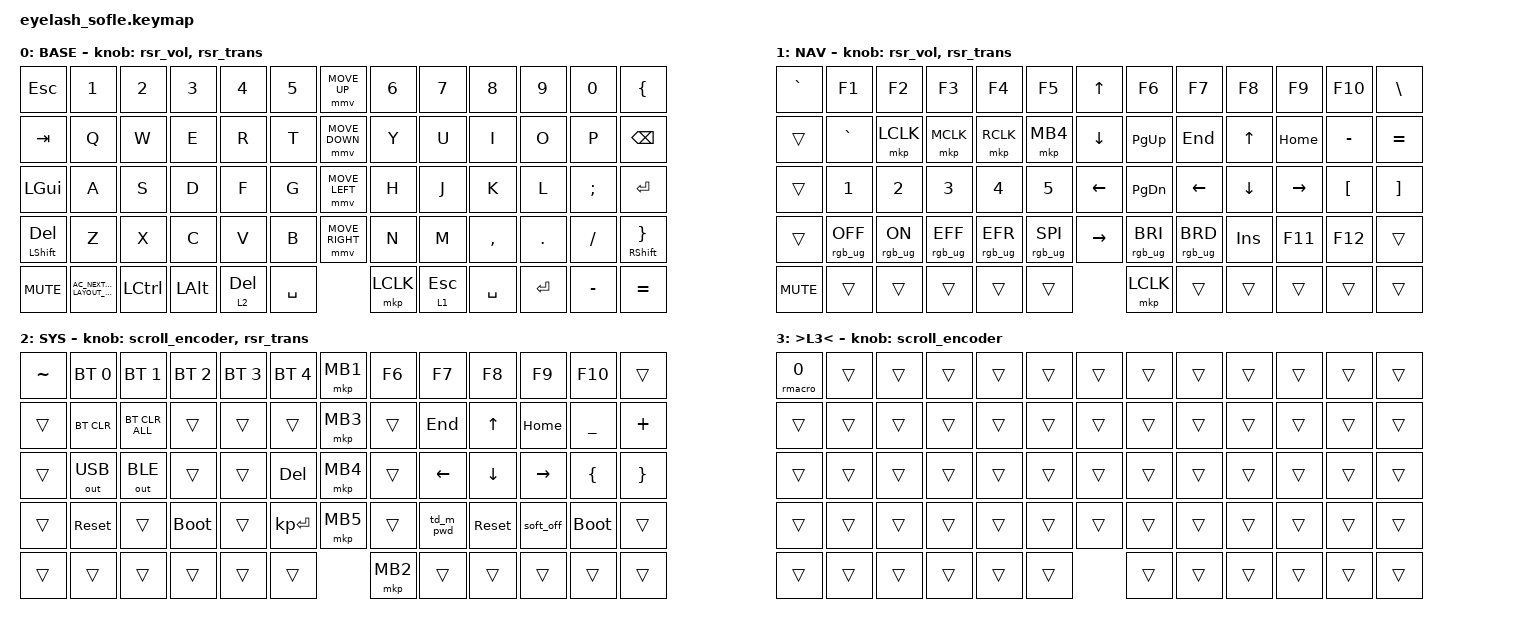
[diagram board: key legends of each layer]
#define ZMK_POINTING_DEFAULT_MOVE_VAL 1200  // 600
#define ZMK_POINTING_DEFAULT_SCRL_VAL 60    // match working main branch

#include <input/processors.dtsi>
#include <zephyr/dt-bindings/input/input-event-codes.h>
#include <behaviors.dtsi>
#include <dt-bindings/zmk/bt.h>
#include <dt-bindings/zmk/keys.h>
#include <dt-bindings/zmk/outputs.h>
#include <dt-bindings/zmk/pointing.h>
#include <dt-bindings/zmk/rgb.h>
#include <behaviors/runtime-sensor-rotate.dtsi>
#include <behaviors/runtime_macro.dtsi>

/ {
    zip_scroll_scaler: zip_scroll_scaler {
        compatible = "zmk,input-processor-scaler";
        #input-processor-cells = <2>;
        type = <INPUT_EV_REL>;
        codes = <INPUT_REL_WHEEL INPUT_REL_HWHEEL>;
        track-remainders;
    };
};

&mmv_input_listener { input-processors = <&zip_xy_scaler 2 1>; };

&msc_input_listener { input-processors = <&zip_scroll_scaler 2 1>; };

&msc {
    acceleration-exponent = <0>;      // immediate encoder scroll
    time-to-max-speed-ms = <0>;       // no acceleration ramp
    delay-ms = <0>;                   // 0
};

&mmv {
    time-to-max-speed-ms = <500>;
    acceleration-exponent = <1>;
    trigger-period-ms = <16>;
};

&soft_off { hold-time-ms = <2000>; };

/ {
    HR_M: HR_M {
        compatible = "zmk,behavior-hold-tap";
        label = "HR_M";
        bindings = <&kp>, <&kp>;

        #binding-cells = <2>;
        flavor = "tap-preferred";
        tapping-term-ms = <220>;
        require-prior-idle-ms = <150>;
        quick-tap-ms = <0>;
    };

    behaviors {
        scroll_encoder: scroll_encoder {
            compatible = "zmk,behavior-sensor-rotate";
            #sensor-binding-cells = <0>;
            bindings = <&msc SCRL_DOWN>, <&msc SCRL_UP>;
            tap-ms = <25>;
        };

        rsr_vol: rsr_vol {
            compatible = "zmk,behavior-runtime-sensor-rotate";
            #sensor-binding-cells = <0>;
            tap-ms = <25>;
            cw-binding = <&kp C_VOLUME_UP>;
            ccw-binding = <&kp C_VOL_DN>;
        };

        rsr_scroll: rsr_scroll {
            compatible = "zmk,behavior-runtime-sensor-rotate";
            #sensor-binding-cells = <0>;
            tap-ms = <25>;
            cw-binding = <&msc SCRL_DOWN>;
            ccw-binding = <&msc SCRL_UP>;
        };

        rsr_trans: rsr_trans {
            compatible = "zmk,behavior-runtime-sensor-rotate";
            #sensor-binding-cells = <0>;
            tap-ms = <0>;
        };

        td_m_pwd: td_m_pwd {
            compatible = "zmk,behavior-tap-dance";
            label = "TD_M_PWD";
            #binding-cells = <0>;

            // 1 tap: m
            // 2 taps: password + Enter
            bindings = <&kp M>, <&pwd_enter>;

            tapping-term-ms = <200>;
        };
    };

    combos {
        compatible = "zmk,combos";

        softoff {
            bindings = <&soft_off>;
            key-positions = <14 28 40>;
        };
    };

    macros {
        SHIFT_MCLK: SHIFT_MCLK {
            compatible = "zmk,behavior-macro";
            #binding-cells = <0>;
            bindings =
                <&macro_press>,
                <&kp LEFT_SHIFT>,
                <&macro_press>,
                <&mkp MB3>,
                <&macro_pause_for_release>,
                <&macro_release>,
                <&kp LEFT_SHIFT &mkp MB3>;

            label = "SHIFT_MCLK";
        };

        pwd_enter: pwd_enter {
            compatible = "zmk,behavior-macro";
            label = "PWD_ENTER";
            #binding-cells = <0>;

            // outputs: x y 1 9 0 0 9 1 8 8 + Enter
            bindings =
                <&kp X>, <&kp Y>,
                <&kp N1>, <&kp N9>, <&kp N0>, <&kp N0>,
                <&kp N9>, <&kp N1>, <&kp N8>, <&kp N8>,
                <&kp ENTER>;
        };
    };

    keymap {
        compatible = "zmk,keymap";

        layer_0 {
            bindings = <
&kp ESC           &kp N1                                &kp N2            &kp N3        &kp N4  &kp N5       &mmv MOVE_UP     &kp N6  &kp N7     &kp N8     &kp N9     &kp N0     &kp LEFT_BRACE
&kp TAB           &kp Q                                 &kp W             &kp E         &kp R   &kp T        &mmv MOVE_DOWN   &kp Y   &kp U      &kp I      &kp O      &kp P      &kp BACKSPACE
&kp LGUI          &kp A                                 &kp S             &kp D         &kp F   &kp G        &mmv MOVE_LEFT   &kp H   &kp J      &kp K      &kp L      &kp SEMI   &kp RET
&mt LSHFT DELETE  &kp Z                                 &kp X             &kp C         &kp V   &kp B        &mmv MOVE_RIGHT  &kp N   &kp M      &kp COMMA  &kp DOT    &kp FSLH   &mt RIGHT_SHIFT RIGHT_BRACE
&kp C_MUTE        &kp C_AC_NEXT_KEYBOARD_LAYOUT_SELECT  &kp LEFT_CONTROL  &kp LEFT_ALT  &lt 2 DEL   &kp SPACE    &mkp LCLK        &lt 1 ESC   &kp SPACE  &kp RET    &kp MINUS  &kp EQUAL
            >;

            sensor-bindings = <&rsr_vol &rsr_trans>;
            display-name = "BASE";
        };

        layer_1 {
            bindings = <
&kp GRAVE   &kp F1           &kp F2          &kp F3           &kp F4           &kp F5             &kp UP_ARROW     &kp F6           &kp F7           &kp F8      &kp F9     &kp F10           &kp BACKSLASH
&trans      &kp GRAVE        &mkp LCLK       &mkp MCLK        &mkp RCLK        &mkp MB4           &kp DOWN_ARROW   &kp PG_UP        &kp END          &kp UP      &kp HOME   &kp MINUS         &kp EQUAL
&trans      &kp N1           &kp N2          &kp N3           &kp N4           &kp N5             &kp LEFT_ARROW   &kp PG_DN        &kp LEFT         &kp DOWN    &kp RIGHT  &kp LEFT_BRACKET  &kp RIGHT_BRACKET
&trans      &rgb_ug RGB_OFF  &rgb_ug RGB_ON  &rgb_ug RGB_EFF  &rgb_ug RGB_EFR  &rgb_ug RGB_SPI    &kp RIGHT_ARROW  &rgb_ug RGB_BRI  &rgb_ug RGB_BRD  &kp INSERT  &kp F11    &kp F12           &trans
&kp C_MUTE  &trans           &trans          &trans           &trans           &trans             &mkp LCLK        &trans           &trans           &trans      &trans     &trans
            >;

            display-name = "NAV";
            sensor-bindings = <&rsr_vol &rsr_trans>;
        };

        layer_2 {
            bindings = <
&kp TILDE  &bt BT_SEL 0  &bt BT_SEL 1    &bt BT_SEL 2  &bt BT_SEL 3  &bt BT_SEL 4    &mkp MB1  &kp F6  &kp F7  &kp F8      &kp F9     &kp F10      &trans
&trans     &bt BT_CLR    &bt BT_CLR_ALL  &trans        &trans        &trans          &mkp MB3  &trans  &kp END  &kp UP_ARROW     &kp HOME    &kp UNDER    &kp PLUS
&trans     &out OUT_USB  &out OUT_BLE    &trans        &trans        &kp DELETE      &mkp MB4  &trans  &kp LEFT_ARROW  &kp DOWN_ARROW      &kp RIGHT_ARROW     &kp LBRC     &kp RBRC
&trans     &sys_reset    &trans          &bootloader   &trans        &kp KP_ENTER    &mkp MB5  &trans  &td_m_pwd  &sys_reset  &soft_off  &bootloader  &trans
&trans     &trans        &trans          &trans        &trans        &trans          &mkp MB2  &trans  &trans  &trans      &trans     &trans
            >;

            display-name = "SYS";
            sensor-bindings = <&scroll_encoder &rsr_trans>;
        };

        layer_3 {
            bindings = <
&rmacro 0  &trans  &trans  &trans  &trans  &trans    &trans  &trans  &trans  &trans  &trans  &trans  &trans
&trans  &trans  &trans  &trans  &trans  &trans    &trans  &trans  &trans  &trans  &trans  &trans  &trans
&trans  &trans  &trans  &trans  &trans  &trans    &trans  &trans  &trans  &trans  &trans  &trans  &trans
&trans  &trans  &trans  &trans  &trans  &trans    &trans  &trans  &trans  &trans  &trans  &trans  &trans
&trans  &trans  &trans  &trans  &trans  &trans    &trans  &trans  &trans  &trans  &trans  &trans
            >;

            display-name = ">L3<";
            sensor-bindings = <&scroll_encoder>;
        };
    };
};
